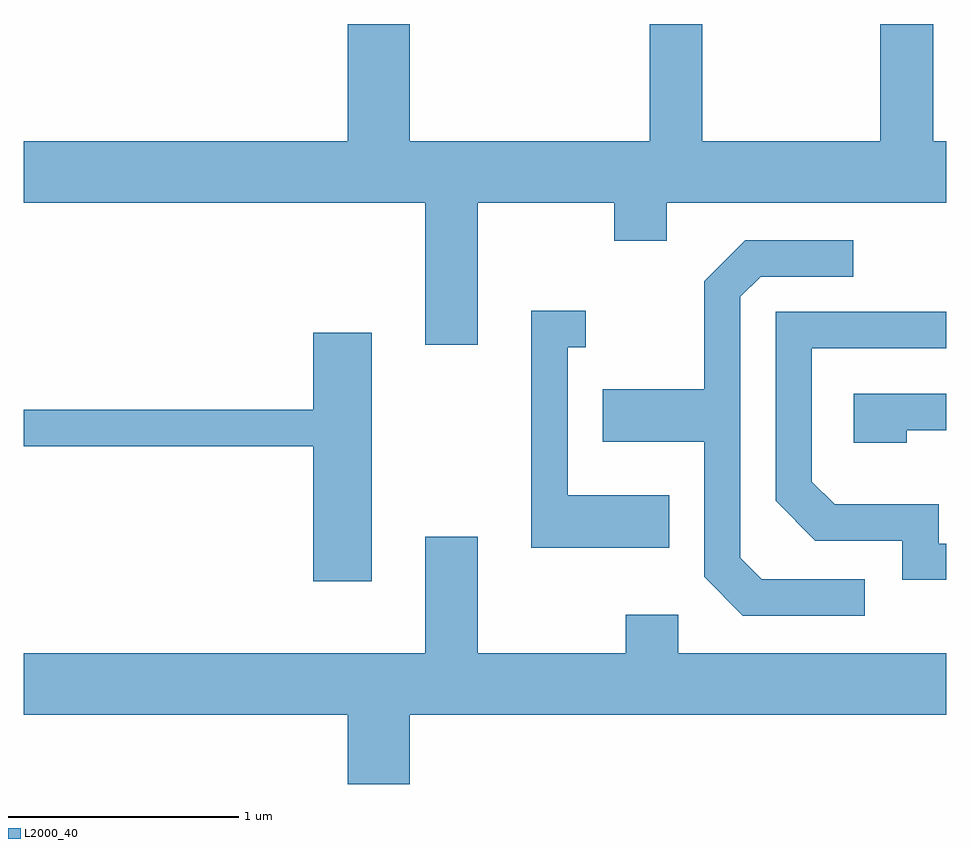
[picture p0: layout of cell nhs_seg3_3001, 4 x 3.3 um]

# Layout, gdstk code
import gdstk
lib = gdstk.Library(unit=1e-6, precision=1e-09)
def P(c, l, *ps):  # polygons
    for p in ps: c.add(gdstk.Polygon(p, *l))
L2000_40 = (2000, 40)

nhs_seg3_3001 = lib.new_cell('nhs_seg3_3001')
P(nhs_seg3_3001, L2000_40, [(275.579,1137.116),(276.171,1137.116),(276.171,1136.951),(276.399,1136.951),(276.399,1137.116),(277.611,1137.116),(277.611,1137.384),(277.554,1137.384),(277.554,1137.892),(277.326,1137.892),(277.326,1137.384),(276.554,1137.384),(276.554,1137.892),(276.326,1137.892),(276.326,1137.384),(275.284,1137.384),(275.284,1137.892),(275.016,1137.892),(275.016,1137.384),(273.611,1137.384),(273.611,1137.116),(275.351,1137.116),(275.351,1136.501),(275.579,1136.501)],
  [(277.258,1135.484),(276.812,1135.484),(276.719,1135.577),(276.719,1136.709),(276.807,1136.796),(277.208,1136.796),(277.208,1136.954),(276.739,1136.954),(276.561,1136.777),(276.561,1136.309),(276.121,1136.309),(276.121,1136.081),(276.561,1136.081),(276.561,1135.494),(276.729,1135.326),(277.258,1135.326)],
  [(276.409,1135.849),(275.969,1135.849),(275.969,1136.491),(276.048,1136.491),(276.048,1136.649),(275.811,1136.649),(275.811,1135.621),(276.409,1135.621)],
  [(277.611,1135.639),(277.579,1135.639),(277.579,1135.809),(277.127,1135.809),(277.029,1135.907),(277.029,1136.486),(277.611,1136.486),(277.611,1136.644),(276.871,1136.644),(276.871,1135.824),(277.044,1135.651),(277.421,1135.651),(277.421,1135.481),(277.611,1135.481)],
  [(275.119,1136.554),(274.866,1136.554),(274.866,1136.219),(273.611,1136.219),(273.611,1136.061),(274.866,1136.061),(274.866,1135.476),(275.119,1135.476)],
  [(277.439,1136.131),(277.611,1136.131),(277.611,1136.289),(277.211,1136.289),(277.211,1136.076),(277.439,1136.076)],
  [(275.284,1134.896),(277.611,1134.896),(277.611,1135.164),(276.449,1135.164),(276.449,1135.329),(276.221,1135.329),(276.221,1135.164),(275.579,1135.164),(275.579,1135.669),(275.351,1135.669),(275.351,1135.164),(273.611,1135.164),(273.611,1134.896),(275.016,1134.896),(275.016,1134.596),(275.284,1134.596)])

lib.write_gds('nhs_seg3_3001.gds')
